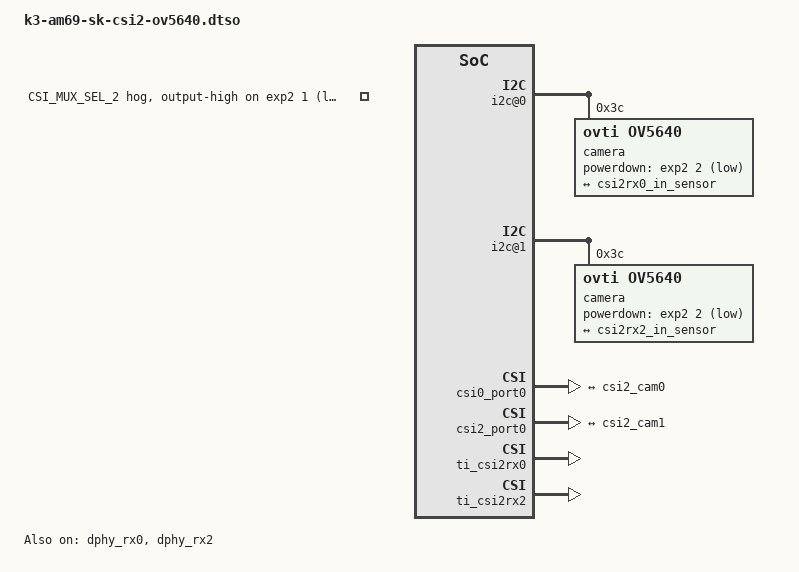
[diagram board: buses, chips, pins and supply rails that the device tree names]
// SPDX-License-Identifier: GPL-2.0
/**
 * DT Overlay for OV5640 Camera module on MIPI CSI connector for AM69 SK board.
 *
 * Copyright (C) 2023 Texas Instruments Incorporated - https://www.ti.com/
 */

/dts-v1/;
/plugin/;

#include <dt-bindings/gpio/gpio.h>
#include "k3-pinctrl.h"

&wkup_pmx2 {
	csi2_exp_refclk_pins_default: csi2-exp-refclk-pins-default {
		pinctrl-single,pins = <
			J784S4_IOPAD(0x084, PIN_OUTPUT, 6) /* (M38) WKUP_GPIO0_11.MCU_CLKOUT0 */
		>;
	};
};

&k3_clks {
	pinctrl-names = "default";
	pinctrl-0 = <&csi2_exp_refclk_pins_default>;
};

&exp2 {
	p01-hog{
		/* P01 - CSI_MUX_SEL_2 */
		gpio-hog;
		gpios = <1 GPIO_ACTIVE_LOW>;
		output-high;
		line-name = "CSI_MUX_SEL_2";
	};
};

&pca9543 {
	#address-cells = <1>;
	#size-cells = <0>;

	i2c-alias-pool = /bits/ 16 <0x3c 0x3d>;

	/* CAM0 I2C */
	i2c@0 {
		#address-cells = <1>;
		#size-cells = <0>;
		reg = <0>;

		camera@3c {
			compatible = "ovti,ov5640";
			reg = <0x3c>;

			/* MCU_CLKOUT0 WKUP_GPIO0_11 (M38) */
			clocks = <&k3_clks 157 174>;
			clock-names = "xclk";
			powerdown-gpios = <&exp2 2 GPIO_ACTIVE_LOW>;

			/* HSDIV4_16FFT_MCU_2_HSDIVOUT0_CLK10 -> REFCLK2 */
			assigned-clocks = <&k3_clks 157 174>;
			assigned-clock-parents = <&k3_clks 157 176>;
			assigned-clock-rates = <25000000>;

			port {
				csi2_cam0: endpoint {
					remote-endpoint = <&csi2rx0_in_sensor>;
					clock-lanes = <0>;
					data-lanes = <1 2>;
				};
			};
		};
	};

	/* CAM1 I2C */
	i2c@1 {
		#address-cells = <1>;
		#size-cells = <0>;
		reg = <1>;

		camera@3c {
			compatible = "ovti,ov5640";
			reg = <0x3c>;

			/* MCU_CLKOUT0 WKUP_GPIO0_11 (M38) */
			clocks = <&k3_clks 157 174>;
			clock-names = "xclk";
			powerdown-gpios = <&exp2 2 GPIO_ACTIVE_LOW>;

			/* HSDIV4_16FFT_MCU_2_HSDIVOUT0_CLK10 -> REFCLK2 */
			assigned-clocks = <&k3_clks 157 174>;
			assigned-clock-parents = <&k3_clks 157 176>;
			assigned-clock-rates = <25000000>;

			port {
				csi2_cam1: endpoint {
					remote-endpoint = <&csi2rx2_in_sensor>;
					clock-lanes = <0>;
					data-lanes = <1 2>;
				};
			};
		};
	};
};

&csi0_port0 {
	status = "okay";

	csi2rx0_in_sensor: endpoint {
		remote-endpoint = <&csi2_cam0>;
		bus-type = <4>; /* CSI2 DPHY. */
		clock-lanes = <0>;
		data-lanes = <1 2>;
	};
};

&csi2_port0 {
	status = "okay";

	csi2rx2_in_sensor: endpoint {
		remote-endpoint = <&csi2_cam1>;
		bus-type = <4>; /* CSI2 DPHY. */
		clock-lanes = <0>;
		data-lanes = <1 2>;
	};
};

&ti_csi2rx0 {
        status = "okay";
};

&ti_csi2rx2 {
        status = "okay";
};

&dphy_rx0 {
        status = "okay";
};

&dphy_rx2 {
        status = "okay";
};
